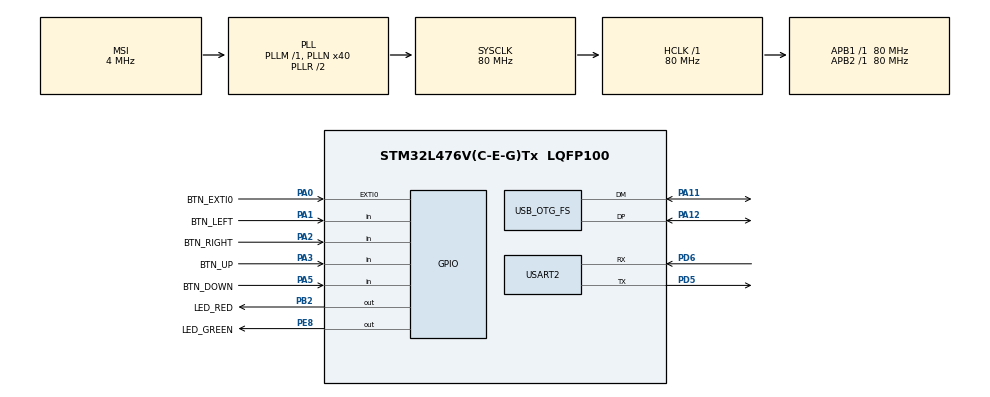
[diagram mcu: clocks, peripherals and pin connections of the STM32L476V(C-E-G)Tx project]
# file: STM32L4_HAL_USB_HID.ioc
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Mcu.Family=STM32L4
Mcu.Name=STM32L476V(C-E-G)Tx
Mcu.Package=LQFP100
NVIC.EXTI0_IRQn=true\:0\:0\:false\:false\:true\:true\:true\:true
NVIC.OTG_FS_IRQn=true\:0\:0\:false\:false\:true\:false\:true\:true
NVIC.PriorityGroup=NVIC_PRIORITYGROUP_4
PA0.GPIO_Label=BTN_EXTI0
PA0.Signal=GPXTI0
PA1.GPIO_Label=BTN_LEFT
PA1.GPIO_PuPd=GPIO_PULLDOWN
PA1.Signal=GPIO_Input
PA11.Mode=Device_Only
PA11.Signal=USB_OTG_FS_DM
PA12.Mode=Device_Only
PA12.Signal=USB_OTG_FS_DP
PA13\ (JTMS-SWDIO).Mode=Serial_Wire
PA13\ (JTMS-SWDIO).Signal=SYS_JTMS-SWDIO
PA14\ (JTCK-SWCLK).Mode=Serial_Wire
PA14\ (JTCK-SWCLK).Signal=SYS_JTCK-SWCLK
PA2.GPIO_Label=BTN_RIGHT
PA2.GPIO_PuPd=GPIO_PULLDOWN
PA2.Signal=GPIO_Input
PA3.GPIO_Label=BTN_UP
PA3.GPIO_PuPd=GPIO_PULLDOWN
PA3.Signal=GPIO_Input
PA5.GPIO_Label=BTN_DOWN
PA5.GPIO_PuPd=GPIO_PULLDOWN
PA5.Signal=GPIO_Input
PB2.GPIO_Label=LED_RED
PB2.Signal=GPIO_Output
PC14-OSC32_IN\ (PC14).Mode=LSE-External-Oscillator
PC14-OSC32_IN\ (PC14).Signal=RCC_OSC32_IN
PC15-OSC32_OUT\ (PC15).Mode=LSE-External-Oscillator
PC15-OSC32_OUT\ (PC15).Signal=RCC_OSC32_OUT
PD5.Mode=Asynchronous
PD5.Signal=USART2_TX
PD6.Mode=Asynchronous
PD6.Signal=USART2_RX
PE8.GPIO_Label=LED_GREEN
PE8.Signal=GPIO_Output
ProjectManager.HeapSize=0x200
ProjectManager.StackSize=0x400
ProjectManager.TargetToolchain=STM32CubeIDE
RCC.ADCFreq_Value=48000000
RCC.AHBFreq_Value=80000000
RCC.APB1Freq_Value=80000000
RCC.APB1TimFreq_Value=80000000
RCC.APB2Freq_Value=80000000
RCC.APB2TimFreq_Value=80000000
RCC.CortexFreq_Value=80000000
RCC.HCLKFreq_Value=80000000
RCC.HSE_VALUE=8000000
RCC.HSI_VALUE=16000000
RCC.MSI_VALUE=4000000
RCC.PLLN=40
RCC.PLLSAI1N=24
RCC.SYSCLKFreq_VALUE=80000000
RCC.SYSCLKSource=RCC_SYSCLKSOURCE_PLLCLK
RCC.USBFreq_Value=48000000
RCC.VCOOutputFreq_Value=160000000
USART2.VirtualMode-Asynchronous=VM_ASYNC
USB_DEVICE.CLASS_NAME_FS=HID
USB_DEVICE.VirtualMode=Hid
USB_DEVICE.VirtualModeFS=Hid_FS
USB_OTG_FS.VirtualMode=Device_Only
VP_USB_DEVICE_VS_USB_DEVICE_HID_FS.Mode=HID_FS
board=STM32L476G-DISCO

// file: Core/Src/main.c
/* USER CODE BEGIN Header */
/**
 ******************************************************************************
 * @file           : main.c
 * @brief          : Main program body
 ******************************************************************************
 * @attention
 *
 * Copyright (c) 2023 STMicroelectronics.
 * All rights reserved.
 *
 * This software is licensed under terms that can be found in the LICENSE file
 * in the root directory of this software component.
 * If no LICENSE file comes with this software, it is provided AS-IS.
 *
 ******************************************************************************
 */
/* USER CODE END Header */
#include "main.h"
#include "usart.h"
#include "usb_device.h"
#include "gpio.h"

/* USER CODE BEGIN Includes */
#include "usbd_hid.h"
/* USER CODE END Includes */

void SystemClock_Config(void);

/* USER CODE BEGIN 0 */
extern USBD_HandleTypeDef hUsbDeviceFS;
uint8_t hidBuffer[4]; //status, x, y, scroll

void handleInput(void)
{
  memset(hidBuffer, 0, sizeof(hidBuffer));

  if(HAL_GPIO_ReadPin(BTN_LEFT_GPIO_Port, BTN_LEFT_Pin) == GPIO_PIN_SET)
  {
    hidBuffer[1] = -1;
  }

  if(HAL_GPIO_ReadPin(BTN_RIGHT_GPIO_Port, BTN_RIGHT_Pin) == GPIO_PIN_SET)
  {
    hidBuffer[1] = 1;
  }

  if(HAL_GPIO_ReadPin(BTN_UP_GPIO_Port, BTN_UP_Pin) == GPIO_PIN_SET)
  {
    hidBuffer[2] = -1;
  }

  if(HAL_GPIO_ReadPin(BTN_DOWN_GPIO_Port, BTN_DOWN_Pin) == GPIO_PIN_SET)
  {
    hidBuffer[2] = 1;
  }

  USBD_HID_SendReport(&hUsbDeviceFS, hidBuffer, sizeof(hidBuffer));
}

/* USER CODE END 0 */

int main(void)
{

  /* MCU Configuration--------------------------------------------------------*/

  /* Reset of all peripherals, Initializes the Flash interface and the Systick. */
  HAL_Init();

  /* Configure the system clock */
  SystemClock_Config();

  /* Initialize all configured peripherals */
  MX_GPIO_Init();
  MX_USART2_UART_Init();
  MX_USB_DEVICE_Init();

  /* Infinite loop */
  while (1)
  {

    /* USER CODE BEGIN 3 */
    handleInput();
  }
  /* USER CODE END 3 */
}

void SystemClock_Config(void)
{
  RCC_OscInitTypeDef RCC_OscInitStruct = {0};
  RCC_ClkInitTypeDef RCC_ClkInitStruct = {0};

  /** Configure the main internal regulator output voltage
  */
  if (HAL_PWREx_ControlVoltageScaling(PWR_REGULATOR_VOLTAGE_SCALE1) != HAL_OK)
  {
    Error_Handler();
  }

  /** Configure LSE Drive Capability
  */
  HAL_PWR_EnableBkUpAccess();
  __HAL_RCC_LSEDRIVE_CONFIG(RCC_LSEDRIVE_LOW);

  /** Initializes the RCC Oscillators according to the specified parameters
  * in the RCC_OscInitTypeDef structure.
  */
  RCC_OscInitStruct.OscillatorType = RCC_OSCILLATORTYPE_LSE|RCC_OSCILLATORTYPE_MSI;
  RCC_OscInitStruct.LSEState = RCC_LSE_ON;
  RCC_OscInitStruct.MSIState = RCC_MSI_ON;
  RCC_OscInitStruct.MSICalibrationValue = 0;
  RCC_OscInitStruct.MSIClockRange = RCC_MSIRANGE_6;
  RCC_OscInitStruct.PLL.PLLState = RCC_PLL_ON;
  RCC_OscInitStruct.PLL.PLLSource = RCC_PLLSOURCE_MSI;
  RCC_OscInitStruct.PLL.PLLM = 1;
  RCC_OscInitStruct.PLL.PLLN = 40;
  RCC_OscInitStruct.PLL.PLLP = RCC_PLLP_DIV7;
  RCC_OscInitStruct.PLL.PLLQ = RCC_PLLQ_DIV2;
  RCC_OscInitStruct.PLL.PLLR = RCC_PLLR_DIV2;
  if (HAL_RCC_OscConfig(&RCC_OscInitStruct) != HAL_OK)
  {
    Error_Handler();
  }

  /** Initializes the CPU, AHB and APB buses clocks
  */
  RCC_ClkInitStruct.ClockType = RCC_CLOCKTYPE_HCLK|RCC_CLOCKTYPE_SYSCLK
                              |RCC_CLOCKTYPE_PCLK1|RCC_CLOCKTYPE_PCLK2;
  RCC_ClkInitStruct.SYSCLKSource = RCC_SYSCLKSOURCE_PLLCLK;
  RCC_ClkInitStruct.AHBCLKDivider = RCC_SYSCLK_DIV1;
  RCC_ClkInitStruct.APB1CLKDivider = RCC_HCLK_DIV1;
  RCC_ClkInitStruct.APB2CLKDivider = RCC_HCLK_DIV1;

  if (HAL_RCC_ClockConfig(&RCC_ClkInitStruct, FLASH_LATENCY_4) != HAL_OK)
  {
    Error_Handler();
  }

  /** Enable MSI Auto calibration
  */
  HAL_RCCEx_EnableMSIPLLMode();
}

void Error_Handler(void)
{
  __disable_irq();
  while (1)
  {
  }
}
